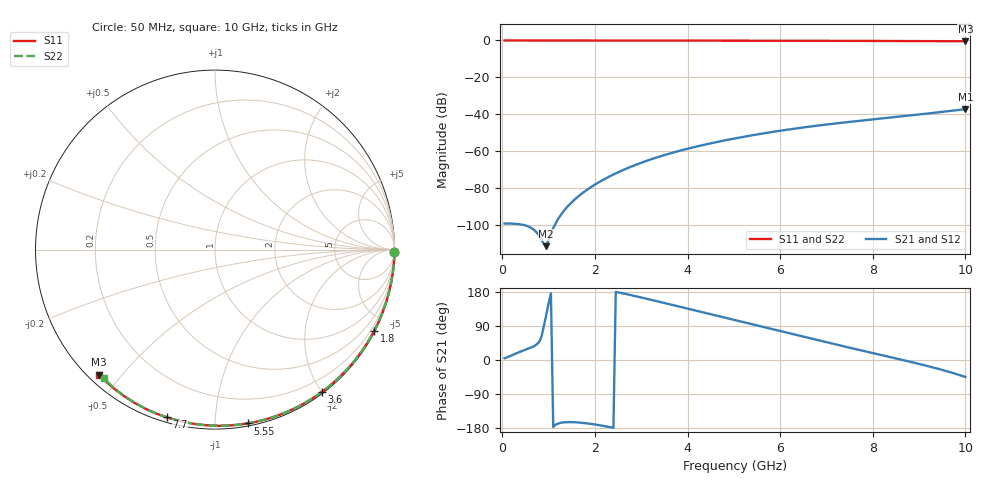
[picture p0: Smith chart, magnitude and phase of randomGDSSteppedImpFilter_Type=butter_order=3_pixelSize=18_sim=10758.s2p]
! freq	dB(S11)	phase(S11)	dB(S12)	phase(S12)
!  dB(S21)	phase(S21)	dB(S22)	phase(S22)
!S-par simulation data
#  GHz  S  DB  R 50
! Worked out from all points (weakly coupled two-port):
!   200 points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, 50 MHz to 10 GHz, reference 50 ohm
!   highest |S21| = -37.30 dB at 10 GHz (marker M1); lowest = -111.6 dB at 950 MHz (marker M2)
!   lowest |S11| = -0.4 dB at 10 GHz (marker M3), VSWR 39.42, Z = 1.51 - j21.8 ohm
!   |S11| at or under -10 dB: nowhere
!   |S22| runs from -0.5 to 0.0 dB; largest |S21 - S12| = 0
!   S11 on the Smith chart (normalised r, x): 50 MHz: open; 1.8 GHz: 0.04, -4.14; 3.6 GHz: 0.02, -2.00; 5.55 GHz: 0.02, -1.20; 7.7 GHz: 0.02, -0.75; 10 GHz: 0.03, -0.44
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0.05  -0.00 -0.8  -99.31 4.6  -99.31 4.6  -0.00 -0.8
0.5  -0.01 -7.7  -100.38 27.0  -100.38 27.0  -0.01 -7.6
0.95  -0.02 -14.5  -111.61 119.1  -111.61 119.1  -0.02 -14.3
1.75  -0.03 -26.4  -82.47 -166.1  -82.47 -166.1  -0.03 -26.1
1.8  -0.03 -27.2  -81.54 -166.8  -81.54 -166.8  -0.03 -26.9
1.9  -0.04 -28.7  -79.82 -168.4  -79.82 -168.4  -0.04 -28.3
2.05  -0.04 -30.9  -77.45 -171.2  -77.45 -171.2  -0.04 -30.5
2.25  -0.04 -33.8  -74.62 -175.4  -74.62 -175.4  -0.04 -33.4
2.65  -0.05 -39.6  -69.84 174.7  -69.84 174.7  -0.05 -39.2
3  -0.06 -44.7  -66.35 165.0  -66.35 165.0  -0.06 -44.1
3.4  -0.07 -50.3  -62.95 153.4  -62.95 153.4  -0.07 -49.7
3.6  -0.07 -53.1  -61.45 147.5  -61.45 147.5  -0.07 -52.5
3.9  -0.08 -57.3  -59.39 138.5  -59.39 138.5  -0.08 -56.6
4.3  -0.09 -62.8  -56.94 126.7  -56.94 126.7  -0.09 -62.1
5.05  -0.11 -72.9  -53.02 104.5  -53.02 104.5  -0.11 -72.0
5.55  -0.13 -79.4  -50.79 89.8  -50.79 89.8  -0.13 -78.4
6.1  -0.15 -86.4  -48.61 73.5  -48.61 73.5  -0.15 -85.4
6.7  -0.18 -93.9  -46.53 55.7  -46.53 55.7  -0.18 -92.8
7.7  -0.24 -106.0  -43.63 26.7  -43.63 26.7  -0.24 -104.8
8.35  -0.29 -113.7  -41.91 8.4  -41.91 8.4  -0.29 -112.4
9.2  -0.36 -123.6  -39.59 -16.4  -39.59 -16.4  -0.37 -122.0
10  -0.44 -132.8  -37.30 -44.8  -37.30 -44.8  -0.46 -130.8
